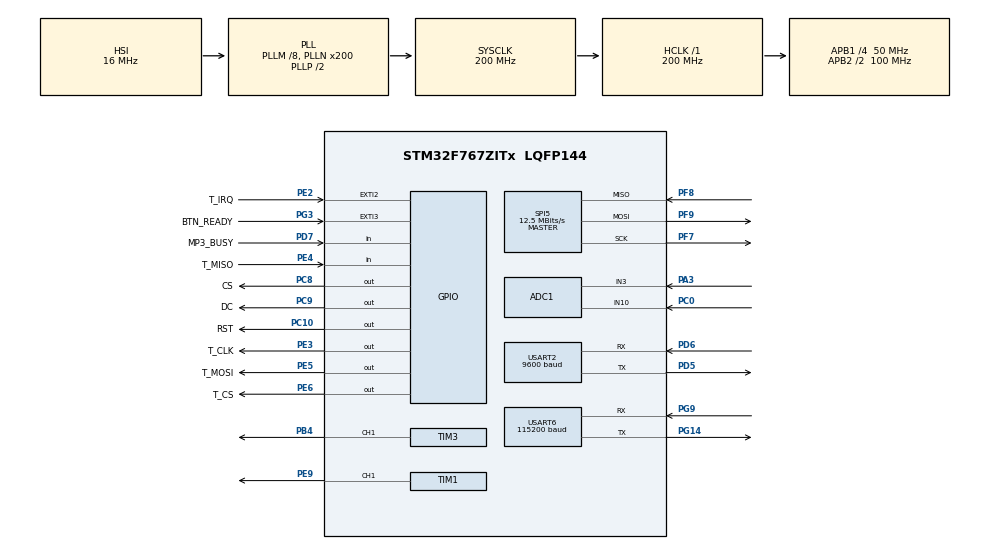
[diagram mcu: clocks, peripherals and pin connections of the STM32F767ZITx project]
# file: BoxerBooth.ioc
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ADC1.Channel-0\#ChannelRegularConversion=ADC_CHANNEL_3
ADC1.Channel-1\#ChannelRegularConversion=ADC_CHANNEL_10
ADC1.ClockPrescaler=ADC_CLOCK_SYNC_PCLK_DIV4
ADC1.ContinuousConvMode=ENABLE
ADC1.DMAContinuousRequests=ENABLE
ADC1.NbrOfConversion=2
ADC1.NbrOfConversionFlag=1
ADC1.Rank-0\#ChannelRegularConversion=1
ADC1.Rank-1\#ChannelRegularConversion=2
ADC1.SamplingTime-0\#ChannelRegularConversion=ADC_SAMPLETIME_480CYCLES
ADC1.SamplingTime-1\#ChannelRegularConversion=ADC_SAMPLETIME_480CYCLES
ADC1.ScanConvMode=ADC_SCAN_ENABLE
ADC1.master=1
CORTEX_M7.ART_ACCELERATOR_ENABLE=1
CORTEX_M7.CPU_DCache=Enabled
CORTEX_M7.CPU_ICache=Enabled
CORTEX_M7.PREFETCH_ENABLE=1
CORTEX_M7.default_mode_Activation=1
Dma.ADC1.0.Direction=DMA_PERIPH_TO_MEMORY
Dma.ADC1.0.FIFOMode=DMA_FIFOMODE_DISABLE
Dma.ADC1.0.Instance=DMA2_Stream0
Dma.ADC1.0.MemDataAlignment=DMA_MDATAALIGN_HALFWORD
Dma.ADC1.0.MemInc=DMA_MINC_ENABLE
Dma.ADC1.0.Mode=DMA_CIRCULAR
Dma.ADC1.0.PeriphDataAlignment=DMA_PDATAALIGN_HALFWORD
Dma.ADC1.0.PeriphInc=DMA_PINC_DISABLE
Dma.ADC1.0.Priority=DMA_PRIORITY_HIGH
Dma.Request0=ADC1
Dma.Request1=TIM3_CH1/TRIG
Dma.TIM3_CH1/TRIG.1.Direction=DMA_MEMORY_TO_PERIPH
Dma.TIM3_CH1/TRIG.1.FIFOMode=DMA_FIFOMODE_DISABLE
Dma.TIM3_CH1/TRIG.1.Instance=DMA1_Stream4
Dma.TIM3_CH1/TRIG.1.MemDataAlignment=DMA_MDATAALIGN_HALFWORD
Dma.TIM3_CH1/TRIG.1.MemInc=DMA_MINC_ENABLE
Dma.TIM3_CH1/TRIG.1.Mode=DMA_CIRCULAR
Dma.TIM3_CH1/TRIG.1.PeriphDataAlignment=DMA_PDATAALIGN_HALFWORD
Dma.TIM3_CH1/TRIG.1.PeriphInc=DMA_PINC_DISABLE
Dma.TIM3_CH1/TRIG.1.Priority=DMA_PRIORITY_LOW
Mcu.Family=STM32F7
Mcu.Name=STM32F767ZITx
Mcu.Package=LQFP144
NVIC.DMA1_Stream4_IRQn=true\:0\:0\:false\:false\:true\:false\:true\:true
NVIC.DMA2_Stream0_IRQn=true\:0\:0\:false\:false\:true\:true\:true\:true
NVIC.EXTI2_IRQn=true\:0\:0\:false\:false\:true\:true\:true\:true
NVIC.EXTI3_IRQn=true\:0\:0\:false\:false\:true\:true\:true\:true
NVIC.PriorityGroup=NVIC_PRIORITYGROUP_4
NVIC.USART6_IRQn=true\:0\:0\:false\:false\:true\:true\:true\:true
PA3.Signal=ADCx_IN3
PB4.Signal=S_TIM3_CH1
PC0.Signal=ADCx_IN10
PC10.GPIO_Label=RST
PC10.GPIO_Speed=GPIO_SPEED_FREQ_VERY_HIGH
PC10.Signal=GPIO_Output
PC8.GPIO_Label=CS
PC8.GPIO_Speed=GPIO_SPEED_FREQ_VERY_HIGH
PC8.Signal=GPIO_Output
PC9.GPIO_Label=DC
PC9.GPIO_Speed=GPIO_SPEED_FREQ_VERY_HIGH
PC9.Signal=GPIO_Output
PD5.Mode=Asynchronous
PD5.Signal=USART2_TX
PD6.Mode=Asynchronous
PD6.Signal=USART2_RX
PD7.GPIO_Label=MP3_BUSY
PD7.GPIO_PuPd=GPIO_PULLUP
PD7.Signal=GPIO_Input
PE2.GPIO_Label=T_IRQ
PE2.GPIO_ModeDefaultEXTI=GPIO_MODE_IT_FALLING
PE2.GPIO_PuPd=GPIO_PULLUP
PE2.Signal=GPXTI2
PE3.GPIO_Label=T_CLK
PE3.GPIO_Speed=GPIO_SPEED_FREQ_VERY_HIGH
PE3.Signal=GPIO_Output
PE4.GPIO_Label=T_MISO
PE4.Signal=GPIO_Input
PE5.GPIO_Label=T_MOSI
PE5.GPIO_Speed=GPIO_SPEED_FREQ_VERY_HIGH
PE5.Signal=GPIO_Output
PE6.GPIO_Label=T_CS
PE6.GPIO_Speed=GPIO_SPEED_FREQ_VERY_HIGH
PE6.Signal=GPIO_Output
PE9.Signal=S_TIM1_CH1
PF7.Mode=Full_Duplex_Master
PF7.Signal=SPI5_SCK
PF8.Mode=Full_Duplex_Master
PF8.Signal=SPI5_MISO
PF9.Mode=Full_Duplex_Master
PF9.Signal=SPI5_MOSI
PG14.Mode=Asynchronous
PG14.Signal=USART6_TX
PG3.GPIO_Label=BTN_READY
PG3.GPIO_ModeDefaultEXTI=GPIO_MODE_IT_FALLING
PG3.GPIO_PuPd=GPIO_PULLUP
PG3.Signal=GPXTI3
PG9.Mode=Asynchronous
PG9.Signal=USART6_RX
PH0/OSC_IN.Mode=HSE-External-Clock-Source
PH0/OSC_IN.Signal=RCC_OSC_IN
PH1/OSC_OUT.Mode=HSE-External-Clock-Source
PH1/OSC_OUT.Signal=RCC_OSC_OUT
ProjectManager.HeapSize=0x200
ProjectManager.StackSize=0x400
ProjectManager.TargetToolchain=STM32CubeIDE
RCC.AHBFreq_Value=200000000
RCC.APB1CLKDivider=RCC_HCLK_DIV4
RCC.APB1Freq_Value=50000000
RCC.APB1TimFreq_Value=100000000
RCC.APB2CLKDivider=RCC_HCLK_DIV2
RCC.APB2Freq_Value=100000000
RCC.APB2TimFreq_Value=200000000
RCC.CortexFreq_Value=200000000
RCC.HCLKFreq_Value=200000000
RCC.HSE_VALUE=8000000
RCC.HSI_VALUE=16000000
RCC.LSE_VALUE=32768
RCC.PLLM=4
RCC.PLLN=200
RCC.PLLSourceVirtual=RCC_PLLSOURCE_HSE
RCC.SYSCLKFreq_VALUE=200000000
RCC.SYSCLKSource=RCC_SYSCLKSOURCE_PLLCLK
RCC.USBFreq_Value=200000000
RCC.VCOOutputFreq_Value=400000000
SH.ADCx_IN10.0=ADC1_IN10,IN10
SH.ADCx_IN3.0=ADC1_IN3,IN3
SH.S_TIM1_CH1.0=TIM1_CH1,PWM Generation1 CH1
SH.S_TIM3_CH1.0=TIM3_CH1,PWM Generation1 CH1
SPI5.BaudRatePrescaler=SPI_BAUDRATEPRESCALER_8
SPI5.CalculateBaudRate=12.5 MBits/s
SPI5.DataSize=SPI_DATASIZE_8BIT
SPI5.Direction=SPI_DIRECTION_2LINES
SPI5.Mode=SPI_MODE_MASTER
SPI5.VirtualType=VM_MASTER
TIM1.AutoReloadPreload=TIM_AUTORELOAD_PRELOAD_ENABLE
TIM1.Channel-PWM\ Generation1\ CH1=TIM_CHANNEL_1
TIM1.Period=999
TIM1.Prescaler=199
TIM3.Channel-PWM\ Generation1\ CH1=TIM_CHANNEL_1
TIM3.Period=124
USART2.BaudRate=9600
USART2.VirtualMode=VM_ASYNC
USART2.VirtualMode-Asynchronous=VM_ASYNC
USART6.BaudRate=115200
USART6.VirtualMode=VM_ASYNC
USART6.VirtualMode-Asynchronous=VM_ASYNC
VP_TIM1_VS_ClockSourceINT.Mode=Internal
VP_TIM3_VS_ClockSourceINT.Mode=Internal
board=custom

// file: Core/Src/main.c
/* USER CODE BEGIN Header */
/**
  ******************************************************************************
  * @file           : main.c
  * @brief          : Main program body
  ******************************************************************************
  * @attention
  *
  * Copyright (c) 2026 STMicroelectronics.
  * All rights reserved.
  *
  * This software is licensed under terms that can be found in the LICENSE file
  * in the root directory of this software component.
  * If no LICENSE file comes with this software, it is provided AS-IS.
  *
  *****************************************************
  *****************************************************
  *****************************************************
  ******************************************************************************
  */
/* USER CODE END Header */
#include "main.h"
#include "adc.h"
#include "dma.h"
#include "spi.h"
#include "tim.h"
#include "usart.h"
#include "gpio.h"

/* USER CODE BEGIN Includes */
#include "ILI9341_STM32_Driver.h"
#include "ILI9341_GFX.h"

#include "ILI9341_Touchscreen.h"
#include <stdio.h>
#include <string.h>

#include "screens.h"
#include "img.h"
#include "digits.h"
#include "hud.h"
#include "sound.h"
#include "slave.h"
#include "leds.h"
#include "stage.h"
#include "adc_dma.h"
/* USER CODE END Includes */

/* USER CODE BEGIN PD */
/* 1 = โหมดเทสต์ไมค์ stage_scream.c เดี่ยวๆ (ออกทั้ง Serial Monitor 115200 + LED บอร์ด + จอ LCD)
   0 = ปิดโหมดเทสต์ (ค่าเริ่มต้นสำหรับรวมโค้ดกับทีม) */
#define TEST_SCREAM_ONLY  0

/* 1 = เดโมไล่ดูหน้าจอเฉย ๆ  ·  0 = เล่นเกมจริงผ่าน state machine
   ตอนนี้เป็น 1 เพราะด่านยังเป็นโครงเปล่า พอเพื่อนเขียนเสร็จให้เปลี่ยนเป็น 0 */
#define DEMO_SCREENS  0

/* 1 = เล่นด่านต่อยวนเองบนบอร์ด B ไม่ต้องมีบอร์ด A (ทับ DEMO_SCREENS)
   จบหมัดโชว์คะแนน 5 วิ แล้วเริ่มใหม่ · ตอนรวมกับบอร์ด A ให้ตั้งเป็น 0 */
#define TEST_PUNCH    0

/* 1 = เทสต์ไฟเส้น WS2812B เดี่ยว ๆ วนโหมดเองทุก 2 วิ (กดปุ่มเขียวข้ามได้)
   จอโชว์เลขโหมด 0-4 ตัวใหญ่ · ตอนรวมกับบอร์ด A ให้ตั้งเป็น 0 */
#define TEST_LEDS     0

/* 1 = เทสต์ DFPlayer เดี่ยว ๆ เล่น 0001-0011.mp3 ทีละไฟล์ จบแล้วไปไฟล์ถัดไปเอง (กดปุ่มเขียวข้ามได้)
   จอโชว์เบอร์ไฟล์ตัวใหญ่ + ขา BUSY ตัวเล็กมุมล่าง (0 = กำลังเล่น 1 = เงียบ) · ตอนรวมให้ตั้งเป็น 0 */
#define TEST_SOUND    0

/* ใช้กับ TEST_SOUND: 1 = เปิดไฟเส้นกะพริบตื้ด ๆ (โหมดบรรยากาศ) ไปพร้อมกับเล่นเพลง
   ถ้าเปิดแล้วเสียงหาย แต่ปิดแล้วเสียงมา = ไฟเส้นทำให้ไฟเลี้ยง/กราวด์ของ DFPlayer กระเพื่อม */
#define TEST_SOUND_WITH_LEDS  0

/* 1 = เล่นเกมจริงตามปกติ แต่พิมพ์ทุกบรรทัดที่รับ/ส่งกับบอร์ด A ออก Tera Term (ST-LINK 115200)
   และพิมพ์ "alive" ทุก 2 วิ ไว้ไล่ว่าคำสั่งหายตรงไหน หรือบอร์ด B ค้าง · ใช้เสร็จตั้งเป็น 0 */
#define DEBUG_LINK    0

/* USER CODE END PD */

void SystemClock_Config(void);
static void MPU_Config(void);
/* USER CODE BEGIN PFP */
#if TEST_SCREAM_ONLY
extern volatile uint32_t scream_raw_rms;
extern volatile uint32_t scream_raw_mean;
extern int               scream_dbg_lvl;
extern int               scream_dbg_flr;
extern uint32_t          scream_run_ms;
#endif
#if TEST_SCREAM_ONLY || DEBUG_LINK
static void Debug_Init(void);
static void Debug_Print(const char *msg);
#endif
/* USER CODE END PFP */

/* USER CODE BEGIN 0 */
#if TEST_PUNCH
/* ทำแบบเดียวกับ Slave_Tick ตอนได้คำสั่ง S3 แต่เริ่มเองไม่ต้องรอบอร์ด A
   หน้าสรุปโชว์ค่าดิบ "ยอด/พื้นที่" ตัวเล็กที่มุมล่างซ้าย ไว้คาลิเบรต MAX_AREA */
int      Punch_RawPeak(void);
uint32_t Punch_RawArea(void);

static void test_punch_tick(void)
{
    static int running = 0;
    static uint32_t t_done = 0;

    /* ไฟเส้นทำแทนบอร์ด A ที่ปกติสั่ง L<n>: บรรยากาศตอนบูต · หลอดวัดพลังตอนเล่น
       หมัดโดนแล้วหลอดวิ่งขึ้นตามแรง ค้างไว้ระหว่างหน้าคะแนน 5 วิ แล้วว่างตอนเริ่มรอบใหม่ */
    if (!running) {
        if (t_done == 0) Leds_SetMode(LED_ATTRACT);
        if (HAL_GetTick() - t_done >= 5000) {
            Screen_Draw(stage_punch.screen);
            Leds_SetMode(LED_PLAY);
            stage_punch.enter();
            running = 1;
        }
    } else if (stage_punch.update() == STAGE_DONE) {
        Hud_Result(stage_punch.result, stage_punch.score());
        char raw[24];
        snprintf(raw, sizeof raw, "%d/%lu", Punch_RawPeak(), (unsigned long)Punch_RawArea());
        IMG_DrawNumber(&digits16, 12, 290, raw, 0xF7BE, 0x0000);
        running = 0;
        t_done  = HAL_GetTick();
    } else {
        stage_punch.render();
    }

    Sound_Tick();
    Leds_Tick();
}
#endif

#if TEST_LEDS
/* วนครบ 5 โหมดใน leds.h โหมดละ 4 วิ (กดปุ่มเขียวข้ามได้)
   0 ดับ · 1 บรรยากาศตื้ด ๆ สีรุ้ง · 2 หลอดวัดพลังขึ้นลง เขียว->แดง · 3 รุ้งวิ่ง · 4 แดงหายใจ
   ดูว่าไฟติดครบ 60 ดวง สีตรง ไม่กะพริบ และสว่างพอในห้องจริง */
static void test_leds_tick(void)
{
    static int mode = -1, btn_was = 0;
    static uint32_t t_change = 0;

    int btn  = (HAL_GPIO_ReadPin(BTN_READY_GPIO_Port, BTN_READY_Pin) == GPIO_PIN_RESET);
    int next = (btn && !btn_was) || (HAL_GetTick() - t_change >= 4000);
    btn_was  = btn;

    /* โหมด 2: จำลองหมัดแรงไต่ถึงแดง แล้วหมัดเบาค้างแค่เขียว เหมือนด่านต่อยจริง */
    static int demo_step = 0;
    if (mode == LED_PLAY) {
        uint32_t t = HAL_GetTick() - t_change;
        if (demo_step == 0)              { Leds_SweepTo(100); demo_step = 1; }
        else if (demo_step == 1 && t >= 2000) { Leds_SweepTo(30);  demo_step = 2; }
    } else {
        demo_step = 0;
    }

    if (next) {
        mode = (mode + 1) % 5;
        Leds_SetMode(mode);
        char s[2] = { (char)('0' + mode), 0 };
        IMG_DrawNumber(&digits48, 106, 136, s, 0xF7BE, 0x0000);
        t_change = HAL_GetTick();
    }
    Leds_Tick();
}
#endif

#if TEST_SOUND
/* ฟังว่าเบอร์บนจอตรงกับเสียงที่ออก (ดูรายชื่อใน sound.h) ถ้าไม่ตรง = ชื่อไฟล์ในการ์ดผิด
   ขา BUSY ต้องเป็น 0 ตอนมีเสียง ถ้าค้าง 1 ตลอด = สาย PD7 ไม่ได้ต่อ (ยังเล่นได้ แต่ใช้เวลาเดาแทน) */
static void test_sound_tick(void)
{
    static int track = 0, btn_was = 0;
    static uint32_t t_start = 0;

    int btn  = (HAL_GPIO_ReadPin(BTN_READY_GPIO_Port, BTN_READY_Pin) == GPIO_PIN_RESET);
    int skip = btn && !btn_was;
    btn_was  = btn;

    /* รอ DFPlayer อ่านการ์ด 2 วิแรก แล้วไปไฟล์ถัดไปเมื่อเพลงจบ (เผื่อ 300 ms ให้คำสั่งออกก่อน) */
    if (HAL_GetTick() > 2500 &&
        (track == 0 || skip || (HAL_GetTick() - t_start > 300 && !Sound_IsBusy()))) {
        track = (track % 11) + 1;
        Sound_Play(track);
        char s[3];
        snprintf(s, sizeof s, "%2d", track);
        IMG_DrawNumber(&digits48, 91, 136, s, 0xF7BE, 0x0000);
        t_start = HAL_GetTick();
    }

    char b[2] = { HAL_GPIO_ReadPin(MP3_BUSY_GPIO_Port, MP3_BUSY_Pin) ? '1' : '0', 0 };
    IMG_DrawNumber(&digits16, 12, 290, b, 0xF7BE, 0x0000);
    Sound_Tick();
#if TEST_SOUND_WITH_LEDS
    Leds_Tick();
#endif
}
#endif

/* USER CODE END 0 */

int main(void)
{

  /* MPU Configuration--------------------------------------------------------*/
  MPU_Config();

  /* Enable the CPU Cache */

  /* Enable I-Cache---------------------------------------------------------*/
  SCB_EnableICache();

  /* Enable D-Cache---------------------------------------------------------*/
  SCB_EnableDCache();

  /* MCU Configuration--------------------------------------------------------*/

  /* Reset of all peripherals, Initializes the Flash interface and the Systick. */
  HAL_Init();

  /* Configure the system clock */
  SystemClock_Config();

  /* Initialize all configured peripherals */
  MX_GPIO_Init();
  MX_DMA_Init();
  MX_SPI5_Init();
  MX_ADC1_Init();
  MX_TIM1_Init();
  MX_USART6_UART_Init();
  MX_USART2_UART_Init();
  MX_TIM3_Init();
  /* USER CODE BEGIN 2 */
  ILI9341_Init();
  ILI9341_Set_Rotation(SCREEN_VERTICAL_2);              /* 240 x 320 แนวตั้ง กลับหัว 180 องศา ตามที่ติดจอบนตู้ · เดิม SCREEN_VERTICAL_1 */
  HAL_TIM_PWM_Start(&htim1, TIM_CHANNEL_1);             /* ไฟหลังจอ */
  __HAL_TIM_SET_COMPARE(&htim1, TIM_CHANNEL_1, 1000);
  AdcDma_Start();                                       /* ADC1 + DMA วิ่งตลอด ไมค์กับเพียโซใช้ร่วมกัน */

#if TEST_PUNCH
  Leds_Init();
#elif TEST_LEDS
  IMG_FillRect(0, 0, 240, 320, 0x0000);                 /* พื้นดำ ไว้โชว์เลขโหมด */
  Leds_Init();
#elif TEST_SOUND
  IMG_FillRect(0, 0, 240, 320, 0x0000);                 /* พื้นดำ ไว้โชว์เบอร์ไฟล์ */
#if TEST_SOUND_WITH_LEDS
  Leds_Init();
  Leds_SetMode(LED_ATTRACT);                            /* ไฟกะพริบเหมือนตอนเล่นเกมจริง */
#endif
#elif TEST_SCREAM_ONLY
  Debug_Init();
  Leds_Init();
  Screen_Draw(SC_INTRO_SCREAM);
  Debug_Print("\r\n=== Board B: Mic Test (PA3) - Press Blue Button B1 to Start ===\r\n");
#elif DEMO_SCREENS
  Screen_Draw(SC_ATTRACT);
#else
#if DEBUG_LINK
  Debug_Init();
  Debug_Print("\r\n=== Board B: game mode, link debug on ===\r\n");
#endif
  Leds_Init();
  Slave_Init();
#endif
  /* USER CODE END 2 */

  /* Infinite loop */
  while (1)
  {

    /* USER CODE BEGIN 3 */
#if TEST_PUNCH
	  test_punch_tick();
#elif TEST_LEDS
	  test_leds_tick();
#elif TEST_SOUND
	  test_sound_tick();
#elif TEST_SCREAM_ONLY
	  /* สถานะเทสต์: 0 = รอกด B1, 1 = รัน stage_scream ของจริงจนจบ, 2 = ค้างดูคะแนน 4 วิ */
	  static int state = 0, b1_was = 0;
	  static uint32_t t_mark = 0, t_log = 0;
	  char msg[140];

	  uint32_t now = HAL_GetTick();
	  int b1 = (HAL_GPIO_ReadPin(GPIOC, GPIO_PIN_13) == GPIO_PIN_SET) ||
	           (HAL_GPIO_ReadPin(BTN_READY_GPIO_Port, BTN_READY_Pin) == GPIO_PIN_RESET) ||
	           TP_Touchpad_Pressed();
	  int pressed = (b1 && !b1_was);
	  b1_was = b1;

	  if (state == 0) {
		  if (now - t_log >= 200) {
			  t_log = now;
			  snprintf(msg, sizeof msg, "[READY - Press B1] RawRMS=%4lu  PA3avg=%4lu (%lu mV)\r\n",
			           scream_raw_rms, scream_raw_mean, scream_raw_mean * 3300UL / 4095UL);
			  Debug_Print(msg);
		  }
		  if (pressed) {
			  Debug_Print("\r\n>>> Starting stage_scream (Prompt -> Quiet 2s -> Scream 10s)...\r\n");
			  stage_scream.enter();
			  state = 1;
		  }
	  } else if (state == 1) {
		  int thr = scream_dbg_flr + 180;
		  HAL_GPIO_WritePin(GPIOB, GPIO_PIN_0, (scream_dbg_lvl >= thr) ? GPIO_PIN_SET : GPIO_PIN_RESET); /* LD1 เขียว = ดังถึงเกณฑ์ */
		  HAL_GPIO_WritePin(GPIOB, GPIO_PIN_7, (scream_run_ms >= 400)  ? GPIO_PIN_SET : GPIO_PIN_RESET); /* LD2 ฟ้า  = ได้แต้ม */

		  if (stage_scream.update() == STAGE_DONE) {
			  int sc = stage_scream.score();
			  HAL_GPIO_WritePin(GPIOB, GPIO_PIN_0 | GPIO_PIN_7, GPIO_PIN_RESET);
			  Hud_Result(stage_scream.result, sc);
			  Leds_SetMode(LED_CELEBRATE);
			  snprintf(msg, sizeof msg, "\r\n=== DONE! SCORE = %d / 1000 ===\r\n\r\n", sc);
			  Debug_Print(msg);
			  t_mark = HAL_GetTick();
			  state  = 2;
		  } else {
			  stage_scream.render();
			  if (now - t_log >= 150) {
				  t_log = now;
				  snprintf(msg, sizeof msg, "[SCREAM] RMS=%4lu | Lvl=%d.%d (Flr=%d.%d) | Score=%4d\r\n",
				           scream_raw_rms, scream_dbg_lvl / 10, scream_dbg_lvl % 10,
				           scream_dbg_flr / 10, scream_dbg_flr % 10, stage_scream.score());
				  Debug_Print(msg);
			  }
		  }
	  } else if (state == 2) {
		  if (pressed || (now - t_mark >= 4000)) {
			  Leds_SetMode(LED_OFF);
			  Screen_Draw(SC_INTRO_SCREAM);
			  state = 0;
		  }
	  }
	  Sound_Tick();
	  Leds_Tick();
#elif DEMO_SCREENS
	  /* เดโมไล่ดูหน้าจอ เปลี่ยนเองทุก 3 วิ หรือกดปุ่มเขียว/แตะจอข้าม */
	  static int page = 0;
	  static int btn_was = 0, tp_was = 0;
	  static uint32_t last_change = 0;
	  int next = 0;

	  int btn = (HAL_GPIO_ReadPin(BTN_READY_GPIO_Port, BTN_READY_Pin) == GPIO_PIN_RESET);
	  int tp  = TP_Touchpad_Pressed();
	  if (btn && !btn_was) next = 1;
	  if (tp && !tp_was)   next = 1;
	  btn_was = btn;
	  tp_was  = tp;
	  if (HAL_GetTick() - last_change >= 3000) next = 1;

	  if (next) {
		  page++;
		  if (page >= SC_COUNT) page = 0;
		  Screen_Draw(page);
		  last_change = HAL_GetTick();
	  }
#else
	  Slave_Tick();
#if DEBUG_LINK
	  /* ถ้าบรรทัดนี้หายไป = บอร์ด B ค้าง ไม่ใช่สายหลุด */
	  static uint32_t t_alive = 0;
	  if (HAL_GetTick() - t_alive >= 2000) {
		  t_alive = HAL_GetTick();
		  char msg[64];
		  snprintf(msg, sizeof msg, "[B] alive %lus  mp3_busy_pin=%d\r\n",
		           HAL_GetTick() / 1000,
		           HAL_GPIO_ReadPin(MP3_BUSY_GPIO_Port, MP3_BUSY_Pin) == GPIO_PIN_RESET);
		  Debug_Print(msg);
	  }
#endif
#endif

	  HAL_Delay(20);
  }
  /* USER CODE END 3 */
}

void SystemClock_Config(void)
{
  RCC_OscInitTypeDef RCC_OscInitStruct = {0};
  RCC_ClkInitTypeDef RCC_ClkInitStruct = {0};

  /** Configure the main internal regulator output voltage
  */
  __HAL_RCC_PWR_CLK_ENABLE();
  __HAL_PWR_VOLTAGESCALING_CONFIG(PWR_REGULATOR_VOLTAGE_SCALE1);

  /** Initializes the RCC Oscillators according to the specified parameters
  * in the RCC_OscInitTypeDef structure.
  */
  RCC_OscInitStruct.OscillatorType = RCC_OSCILLATORTYPE_HSI;
  RCC_OscInitStruct.HSIState = RCC_HSI_ON;
  RCC_OscInitStruct.HSICalibrationValue = RCC_HSICALIBRATION_DEFAULT;
  RCC_OscInitStruct.PLL.PLLState = RCC_PLL_ON;
  RCC_OscInitStruct.PLL.PLLSource = RCC_PLLSOURCE_HSI;
  RCC_OscInitStruct.PLL.PLLM = 8;
  RCC_OscInitStruct.PLL.PLLN = 200;
  RCC_OscInitStruct.PLL.PLLP = RCC_PLLP_DIV2;
  RCC_OscInitStruct.PLL.PLLQ = 2;
  RCC_OscInitStruct.PLL.PLLR = 2;
  if (HAL_RCC_OscConfig(&RCC_OscInitStruct) != HAL_OK)
  {
    Error_Handler();
  }

  /** Activate the Over-Drive mode
  */
  if (HAL_PWREx_EnableOverDrive() != HAL_OK)
  {
    Error_Handler();
  }

  /** Initializes the CPU, AHB and APB buses clocks
  */
  RCC_ClkInitStruct.ClockType = RCC_CLOCKTYPE_HCLK|RCC_CLOCKTYPE_SYSCLK
                              |RCC_CLOCKTYPE_PCLK1|RCC_CLOCKTYPE_PCLK2;
  RCC_ClkInitStruct.SYSCLKSource = RCC_SYSCLKSOURCE_PLLCLK;
  RCC_ClkInitStruct.AHBCLKDivider = RCC_SYSCLK_DIV1;
  RCC_ClkInitStruct.APB1CLKDivider = RCC_HCLK_DIV4;
  RCC_ClkInitStruct.APB2CLKDivider = RCC_HCLK_DIV2;

  if (HAL_RCC_ClockConfig(&RCC_ClkInitStruct, FLASH_LATENCY_6) != HAL_OK)
  {
    Error_Handler();
  }
}

/* USER CODE BEGIN 4 */
#if TEST_SCREAM_ONLY || DEBUG_LINK
static UART_HandleTypeDef dbg_huart3;

static void Debug_Init(void)
{
  GPIO_InitTypeDef g = {0};
  RCC_PeriphCLKInitTypeDef pclk = {0};

  __HAL_RCC_GPIOC_CLK_ENABLE();
  g.Pin  = GPIO_PIN_13;
  g.Mode = GPIO_MODE_INPUT;
  HAL_GPIO_Init(GPIOC, &g);

  __HAL_RCC_GPIOB_CLK_ENABLE();
  g.Pin  = GPIO_PIN_0 | GPIO_PIN_7 | GPIO_PIN_14;
  g.Mode = GPIO_MODE_OUTPUT_PP;
  HAL_GPIO_Init(GPIOB, &g);

  pclk.PeriphClockSelection = RCC_PERIPHCLK_USART3;
  pclk.Usart3ClockSelection = RCC_USART3CLKSOURCE_PCLK1;
  HAL_RCCEx_PeriphCLKConfig(&pclk);

  __HAL_RCC_USART3_CLK_ENABLE();
  __HAL_RCC_GPIOD_CLK_ENABLE();
  g.Pin       = GPIO_PIN_8 | GPIO_PIN_9;
  g.Mode      = GPIO_MODE_AF_PP;
  g.Speed     = GPIO_SPEED_FREQ_VERY_HIGH;
  g.Alternate = GPIO_AF7_USART3;
  HAL_GPIO_Init(GPIOD, &g);

  dbg_huart3.Instance        = USART3;
  dbg_huart3.Init.BaudRate   = 115200;
  dbg_huart3.Init.WordLength = UART_WORDLENGTH_8B;
  dbg_huart3.Init.StopBits   = UART_STOPBITS_1;
  dbg_huart3.Init.Parity     = UART_PARITY_NONE;
  dbg_huart3.Init.Mode       = UART_MODE_TX_RX;
  HAL_UART_Init(&dbg_huart3);
}

static void Debug_Print(const char *msg)
{
  HAL_UART_Transmit(&dbg_huart3, (const uint8_t *)msg, (uint16_t)strlen(msg), 50);
}
#endif

#if DEBUG_LINK
/* slave.c เรียกทุกบรรทัดที่รับ/ส่ง (ตัวจริงของ weak ใน slave.c) */
void Dbg_Line(const char *tag, const char *line)
{
  char msg[128];                      /* บรรทัดยาวสุด 95 ตัว (ตารางอันดับ T) + เวลาและป้าย ไม่ให้โดนตัด */
  snprintf(msg, sizeof msg, "%6lu [%s] %s\r\n", HAL_GetTick(), tag, line);
  Debug_Print(msg);
}
#endif
/* USER CODE END 4 */

 /* MPU Configuration */

void MPU_Config(void)
{
  MPU_Region_InitTypeDef MPU_InitStruct = {0};

  /* Disables the MPU */
  HAL_MPU_Disable();

  /** Initializes and configures the Region and the memory to be protected
  */
  MPU_InitStruct.Enable = MPU_REGION_ENABLE;
  MPU_InitStruct.Number = MPU_REGION_NUMBER0;
  MPU_InitStruct.BaseAddress = 0x0;
  MPU_InitStruct.Size = MPU_REGION_SIZE_4GB;
  MPU_InitStruct.SubRegionDisable = 0x87;
  MPU_InitStruct.TypeExtField = MPU_TEX_LEVEL0;
  MPU_InitStruct.AccessPermission = MPU_REGION_NO_ACCESS;
  MPU_InitStruct.DisableExec = MPU_INSTRUCTION_ACCESS_DISABLE;
  MPU_InitStruct.IsShareable = MPU_ACCESS_SHAREABLE;
  MPU_InitStruct.IsCacheable = MPU_ACCESS_NOT_CACHEABLE;
  MPU_InitStruct.IsBufferable = MPU_ACCESS_NOT_BUFFERABLE;

  HAL_MPU_ConfigRegion(&MPU_InitStruct);
  /* Enables the MPU */
  HAL_MPU_Enable(MPU_PRIVILEGED_DEFAULT);

}

void Error_Handler(void)
{
  __disable_irq();
  while (1)
  {
  }
}
